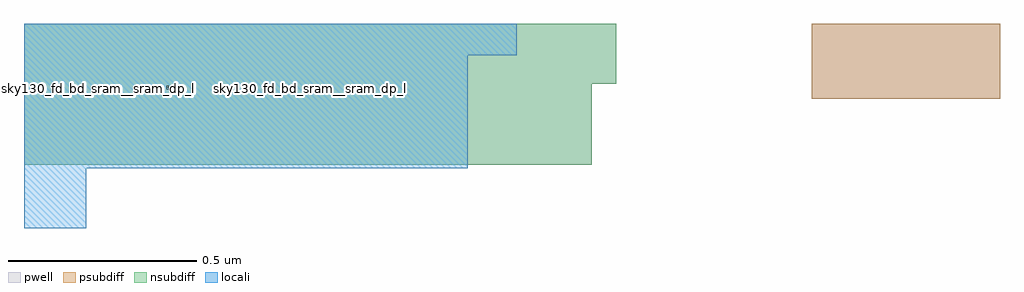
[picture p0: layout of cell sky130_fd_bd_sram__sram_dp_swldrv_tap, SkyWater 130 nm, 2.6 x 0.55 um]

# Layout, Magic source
magic
tech sky130A
magscale 1 2
<< pwell >>
rect 0 15 315 47
rect 0 -28 302 15
rect 419 7 519 47
<< psubdiff >>
rect 419 7 519 47
<< nsubdiff >>
rect 0 15 315 47
rect 0 -28 302 15
<< locali >>
rect 0 30 262 47
rect 0 -30 236 30
rect 0 -62 33 -30
use sky130_fd_bd_sram__sram_dp_licon_1  sky130_fd_bd_sram__sram_dp_licon_1_0
transform 1 0 152 0 1 13
box 0 -1 1 1
use sky130_fd_bd_sram__sram_dp_licon_1  sky130_fd_bd_sram__sram_dp_licon_1_1
transform 1 0 76 0 1 13
box 0 -1 1 1
use sky130_fd_bd_sram__sram_dp_licon_05  sky130_fd_bd_sram__sram_dp_licon_05_0
transform 0 1 0 -1 0 13
box 0 0 1 1
<< properties >>
string GDS_FILE sky130_fd_bd_sram__sram_dp_swldrv_tap.gds
string GDS_END 1288
string GDS_START 498
<< end >>

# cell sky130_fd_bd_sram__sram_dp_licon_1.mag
magic
tech sky130A
magscale 1 2
use sky130_fd_bd_sram__sram_dp_licon_05  sky130_fd_bd_sram__sram_dp_licon_05_0
transform 1 0 0 0 -1 0
box 0 0 1 1
use sky130_fd_bd_sram__sram_dp_licon_05  sky130_fd_bd_sram__sram_dp_licon_05_1
transform 1 0 0 0 1 0
box 0 0 1 1
<< properties >>
string GDS_FILE sky130_fd_bd_sram__sram_dp_licon_1.gds
string GDS_END 424
string GDS_START 294
<< end >>
